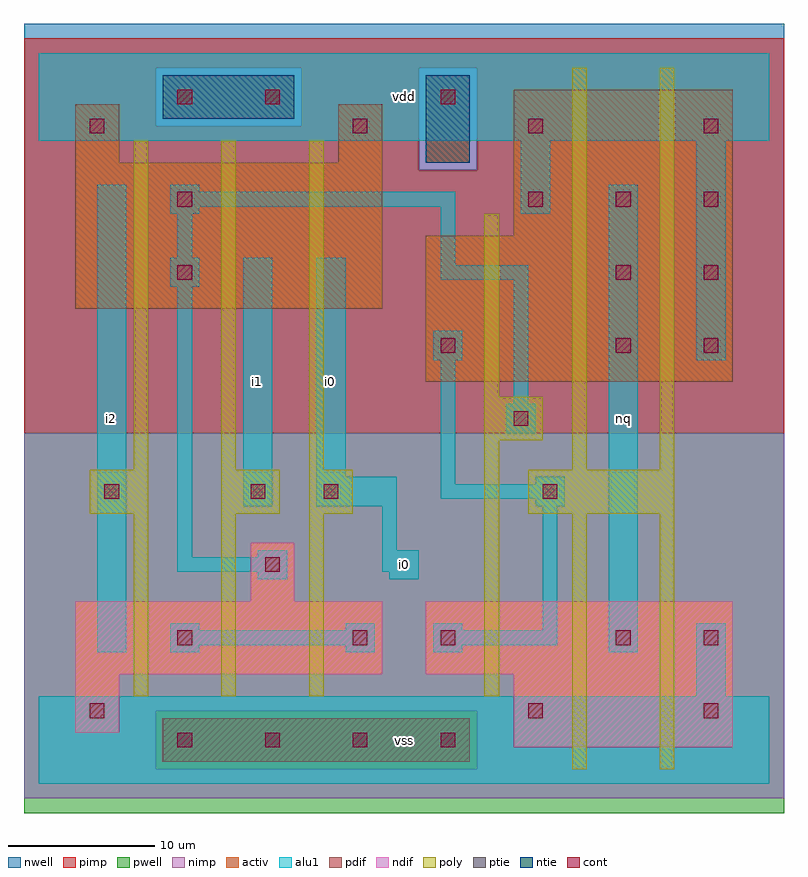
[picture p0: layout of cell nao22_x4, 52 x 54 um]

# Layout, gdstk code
import gdstk
lib = gdstk.Library(unit=1e-6, precision=1e-09)
def R(c, l, rs):  # rectangles x0, y0, x1, y1
    for r in rs: c.add(gdstk.rectangle(r[:2], r[2:], *l))
def A(c, l, x, y, w, h, nx, ny, dx, dy):  # array of equal rectangles
    R(c, l, [(x+i*dx, y+j*dy, x+i*dx+w, y+j*dy+h) for i in range(nx) for j in range(ny)])
ndif = (3, 0)
pdif = (4, 0)
ntie = (5, 0)
ptie = (6, 0)
cont = (25, 0)
pwell = (41, 0)
nwell = (42, 0)
activ = (43, 0)
pimp = (44, 0)
nimp = (45, 0)
poly = (46, 0)
alu1 = (49, 0)

nao22_x4 = lib.new_cell('nao22_x4')
R(nao22_x4, ndif, [(32.5,2.5,47.5,7.5), (2.5,3.5,5.5,7.5), (2.5,7.5,23.5,12.5), (26.5,7.5,47.5,12.5), (14.5,12.5,17.5,16.5)])
R(nao22_x4, pdif, [(26.5,27.5,47.5,37.5), (2.5,32.5,23.5,42.5), (32.5,37.5,47.5,47.5), (2.5,42.5,5.5,46.5), (20.5,42.5,23.5,46.5)])
R(nao22_x4, ntie, [(26.5,42.5,29.5,48.5), (8.5,45.5,17.5,48.5)])
R(nao22_x4, ptie, [(8.5,1.5,29.5,4.5)])
A(nao22_x4, cont, 9.5, 2.5, 1, 1, 4, 1, 6, 0)
A(nao22_x4, cont, 33.5, 39.5, 1, 1, 3, 1, 6, 0)
A(nao22_x4, cont, 21.5, 44.5, 1, 1, 3, 1, 12, 0)
R(nao22_x4, cont, [(3.5,4.5,4.5,5.5), (33.5,4.5,34.5,5.5), (45.5,4.5,46.5,5.5), (9.5,9.5,10.5,10.5), (21.5,9.5,22.5,10.5), (27.5,9.5,28.5,10.5), (39.5,9.5,40.5,10.5), (45.5,9.5,46.5,10.5), (15.5,14.5,16.5,15.5), (4.5,19.5,5.5,20.5), (14.5,19.5,15.5,20.5), (19.5,19.5,20.5,20.5), (34.5,19.5,35.5,20.5), (32.5,24.5,33.5,25.5), (27.5,29.5,28.5,30.5), (39.5,29.5,40.5,30.5), (45.5,29.5,46.5,30.5), (9.5,34.5,10.5,35.5), (39.5,34.5,40.5,35.5), (45.5,34.5,46.5,35.5), (9.5,39.5,10.5,40.5), (3.5,44.5,4.5,45.5), (9.5,46.5,10.5,47.5), (15.5,46.5,16.5,47.5), (27.5,46.5,28.5,47.5)])
R(nao22_x4, pwell, [(-1,-2,51,24)])
R(nao22_x4, nwell, [(-1,24,51,52)])
R(nao22_x4, activ, [(8.5,1.5,29.5,4.5), (32.5,2.5,47.5,7.5), (2.5,3.5,5.5,7.5), (2.5,7.5,23.5,12.5), (26.5,7.5,47.5,12.5), (14.5,12.5,17.5,16.5), (26.5,27.5,47.5,37.5), (2.5,32.5,23.5,42.5), (32.5,37.5,47.5,47.5), (2.5,42.5,5.5,46.5), (20.5,42.5,23.5,46.5), (26.5,42.5,29.5,48.5), (8.5,45.5,17.5,48.5)])
R(nao22_x4, pimp, [(8,1,30,5), (-1,24,51,42), (-1,42,26,45), (30,42,51,49), (-1,45,8,49), (18,45,26,49), (-1,49,51,51)])
R(nao22_x4, nimp, [(-1,-1,51,1), (-1,1,8,5), (30,1,51,5), (-1,5,51,24), (26,42,30,49), (8,45,18,49)])
A(nao22_x4, poly, 6.5, 6, 1, 12.5, 3, 1, 6, 0)
A(nao22_x4, poly, 6.5, 21.5, 1, 22.5, 3, 1, 6, 0)
R(nao22_x4, poly, [(36.5,1,37.5,18.5), (42.5,1,43.5,18.5), (30.5,6,31.5,23.5), (3.5,18.5,7.5,21.5), (12.5,18.5,16.5,21.5), (18.5,18.5,21.5,21.5), (33.5,18.5,43.5,21.5), (36.5,21.5,37.5,49), (42.5,21.5,43.5,49), (30.5,23.5,34.5,26.5), (30.5,26.5,31.5,39)])
R(nao22_x4, alu1, [(0,0,50,6), (45,6,47,11), (4,9,6,41), (9,9,11,9.5), (21,9,23,9.5), (27,9,29,9.5), (39,9,41,41), (9,9.5,23,10.5), (27,9.5,35.5,10.5), (9,10.5,11,11), (21,10.5,23,11), (27,10.5,29,11), (34.5,10.5,35.5,19), (15,14,17,14.5), (24,14,26,14.5), (9.5,14.5,17,15.5), (23.5,14.5,26,16), (9.5,15.5,10.5,34), (15,15.5,17,16), (23.5,16,24.5,19), (14,19,16,36), (19,19,24.5,21), (34,19,36,19.5), (27.5,19.5,36,20.5), (27.5,20.5,28.5,29), (34,20.5,36,21), (19,21,21,36), (32,24,34,26), (32.5,26,33.5,34.5), (27,29,29,31), (45,29,47,44), (9,34,11,36), (27.5,34.5,33.5,35.5), (27.5,35.5,28.5,39.5), (9.5,36,10.5,39), (9,39,11,39.5), (33,39,35,44), (9,39.5,28.5,40.5), (9,40.5,11,41), (0,44,50,50)])
nao22_x4.add(gdstk.Label('i2', (5,25), layer=49, texttype=0))
nao22_x4.add(gdstk.Label('i1', (15,27.5), layer=49, texttype=0))
nao22_x4.add(gdstk.Label('vss', (25,3), layer=49, texttype=0))
nao22_x4.add(gdstk.Label('i0', (25,15), layer=49, texttype=0))
nao22_x4.add(gdstk.Label('i0', (20,27.5), layer=49, texttype=0))
nao22_x4.add(gdstk.Label('vdd', (25,47), layer=49, texttype=0))
nao22_x4.add(gdstk.Label('nq', (40,25), layer=49, texttype=0))

lib.write_gds('nao22_x4.gds')
